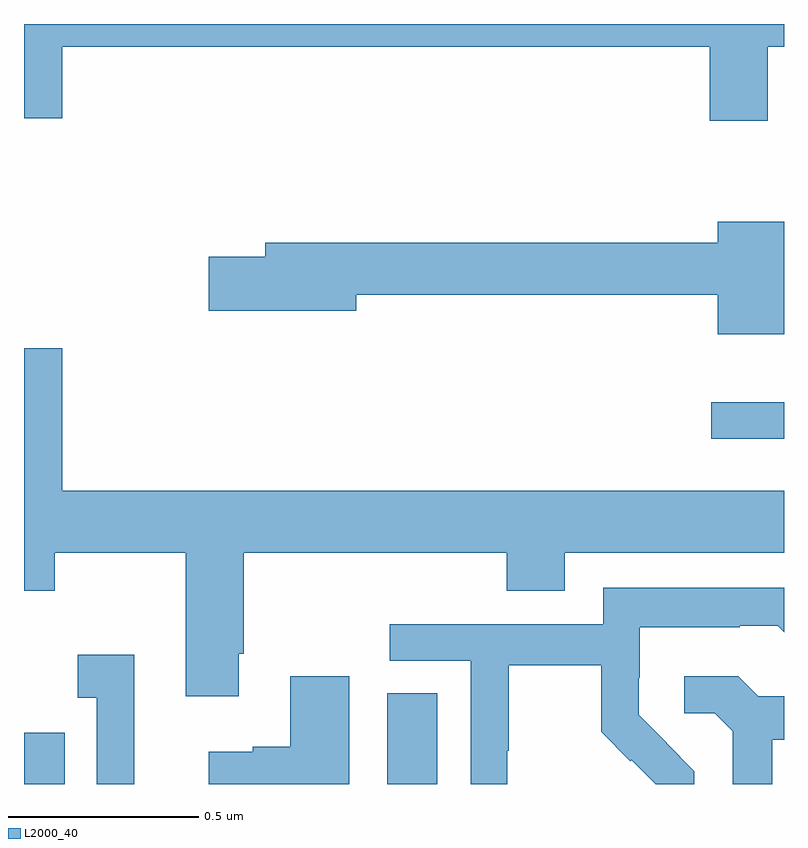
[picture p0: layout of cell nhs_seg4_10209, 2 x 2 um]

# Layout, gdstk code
import gdstk
lib = gdstk.Library(unit=1e-6, precision=1e-09)
def R(c, l, rs):  # rectangles x0, y0, x1, y1
    for r in rs: c.add(gdstk.rectangle(r[:2], r[2:], *l))
def P(c, l, *ps):  # polygons
    for p in ps: c.add(gdstk.Polygon(p, *l))
L2000_40 = (2000, 40)

nhs_seg4_10209 = lib.new_cell('nhs_seg4_10209')
R(nhs_seg4_10209, L2000_40, [(237,774.9,237.107,775.035), (237.956,774.9,238.087,775.139), (238.809,775.808,239,775.905)])
P(nhs_seg4_10209, L2000_40, [(237,776.652),(237.1,776.652),(237.1,776.84),(238.805,776.84),(238.805,776.646),(238.957,776.646),(238.957,776.84),(239,776.84),(239,776.9),(237,776.9)],
  [(239,776.38),(238.826,776.38),(238.826,776.324),(237.635,776.324),(237.635,776.288),(237.486,776.288),(237.486,776.146),(237.874,776.146),(237.874,776.188),(238.826,776.188),(238.826,776.084),(239,776.084)],
  [(237.565,775.243),(237.578,775.243),(237.578,775.508),(238.271,775.508),(238.271,775.409),(238.423,775.409),(238.423,775.508),(239,775.508),(239,775.672),(237.1,775.672),(237.1,776.047),(237,776.047),(237,775.409),(237.081,775.409),(237.081,775.508),(237.425,775.508),(237.425,775.131),(237.565,775.131)],
  [(238.272,774.988),(238.275,774.988),(238.275,775.212),(238.519,775.212),(238.519,775.037),(238.596,774.96),(238.599,774.963),(238.663,774.9),(238.764,774.9),(238.764,774.934),(238.691,775.007),(238.692,775.008),(238.618,775.082),(238.618,775.179),(238.62,775.179),(238.62,775.313),(238.883,775.313),(238.883,775.317),(238.983,775.317),(239,775.3),(239,775.417),(238.524,775.417),(238.524,775.32),(237.963,775.32),(237.963,775.224),(238.176,775.224),(238.176,774.9),(238.272,774.9)],
  [(237.29,775.24),(237.141,775.24),(237.141,775.127),(237.192,775.127),(237.192,774.9),(237.29,774.9)],
  [(237.856,775.183),(237.701,775.183),(237.701,774.998),(237.602,774.998),(237.602,774.985),(237.486,774.985),(237.486,774.9),(237.856,774.9)],
  [(238.969,775.016),(239,775.016),(239,775.131),(238.932,775.131),(238.88,775.183),(238.737,775.183),(238.737,775.086),(238.818,775.086),(238.865,775.039),(238.865,774.9),(238.969,774.9)])

lib.write_gds('nhs_seg4_10209.gds')
